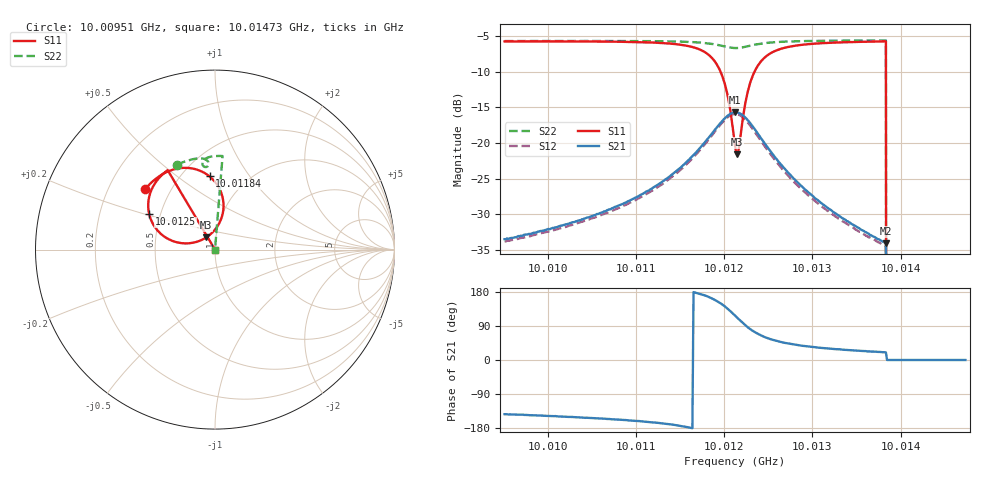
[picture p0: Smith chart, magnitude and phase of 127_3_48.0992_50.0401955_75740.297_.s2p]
#  HZ  S  RI  R  50.00
! Rohde & Schwarz Vector Network Analyzer
! Rohde-Schwarz,ZNB20-2Port,1311601062101988,3.16
! Created: UTC 12/23/2023, 3:47:23 AM
! freq[Hz]  re:S11  im:S11  re:S21  im:S21  re:S12  im:S12  re:S22  im:S22
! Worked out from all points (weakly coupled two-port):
!   401 points, 10.00951 GHz to 10.01473 GHz, reference 50 ohm
!   highest |S21| = -15.70 dB at 10.01212 GHz (marker M1); lowest = -34.0 dB at 10.01383 GHz (marker M2)
!   lowest |S11| = -21.6 dB at 10.01215 GHz (marker M3), VSWR 1.18, Z = 44.9 + j6.11 ohm
!   |S11| at or under -10 dB: 10.01196 GHz to 10.01235 GHz (385.6 kHz wide, 0.00385 % of centre); 10.01383 GHz to end of sweep
!   |S22| runs from - to -5.6 dB; largest |S21 - S12| = 0.0083
!   S11 on the Smith chart (normalised r, x): 10.00951 GHz: 0.36, +0.33; 10.01184 GHz: 0.68, +0.66; 10.0125 GHz: 0.43, +0.21; 10.01473 GHz: 1.00, +0.00
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1.0009513e10  -0.3906 0.3358  -0.0169 -0.0128  -0.0157 -0.013  -0.2108 0.4731
1.0010388e10  -0.3354 0.3903  -0.0257 -0.0138  -0.024 -0.0145  -0.1564 0.4947
1.0010845e10  -0.2933 0.4197  -0.0345 -0.014  -0.0326 -0.0149  -0.1256 0.5031
1.0011262e10  -0.2338 0.4457  -0.0502 -0.0122  -0.0477 -0.0142  -0.0947 0.508
1.0011641e10  -0.1288 0.4525  -0.0808 -1.98e-05  -0.0779 -0.00388  -0.0616 0.5059
1.0011837e10  -0.0304 0.4079  -0.1074 0.0283  -0.1058 0.0217  -0.0429 0.4956
1.0011928e10  0.0213 0.3458  -0.1178 0.0571  -0.1175 0.0493  -0.0363 0.4853
1.0012006e10  0.0471 0.2577  -0.1169 0.0916  -0.1179 0.0845  -0.0355 0.4737
1.0012059e10  0.0387 0.1835  -0.1048 0.1184  -0.1073 0.1113  -0.0394 0.466
1.0012124e10  -0.0151 0.0949  -0.0748 0.1459  -0.0783 0.1393  -0.0487 0.4603
1.001215e10  -0.0491 0.0675  -0.0595 0.1524  -0.0627 0.1463  -0.0534 0.4598
1.0012176e10  -0.088 0.0481  -0.0434 0.1556  -0.0469 0.1497  -0.0579 0.4609
1.0012254e10  -0.2058 0.0392  0.00239 0.1479  -0.0027 0.1428  -0.0678 0.4693
1.0012307e10  -0.2689 0.0638  0.0239 0.1328  0.0186 0.1285  -0.0702 0.4772
1.0012385e10  -0.3295 0.1181  0.0416 0.1079  0.0365 0.1048  -0.0685 0.4886
1.0012502e10  -0.3665 0.1969  0.0501 0.0766  0.0448 0.075  -0.0604 0.5007
1.0012711e10  -0.3673 0.2912  0.0454 0.0442  0.0415 0.0441  -0.0421 0.5121
1.0012998e10  -0.3403 0.3599  0.0352 0.0244  0.0324 0.0247  -0.0184 0.5187
1.0013808e10  -0.2658 0.4411  0.0189 0.00713  0.0177 0.00771  0.0405 0.5215
1.0013834e10  -0.2638 0.4427  0.0186 0.0068  0.0174 0.00754  0.0422 0.5213
1.0013873e10  0 0  0 0  0 0  0 0
1.0014735e10  0 0  0 0  0 0  0 0
